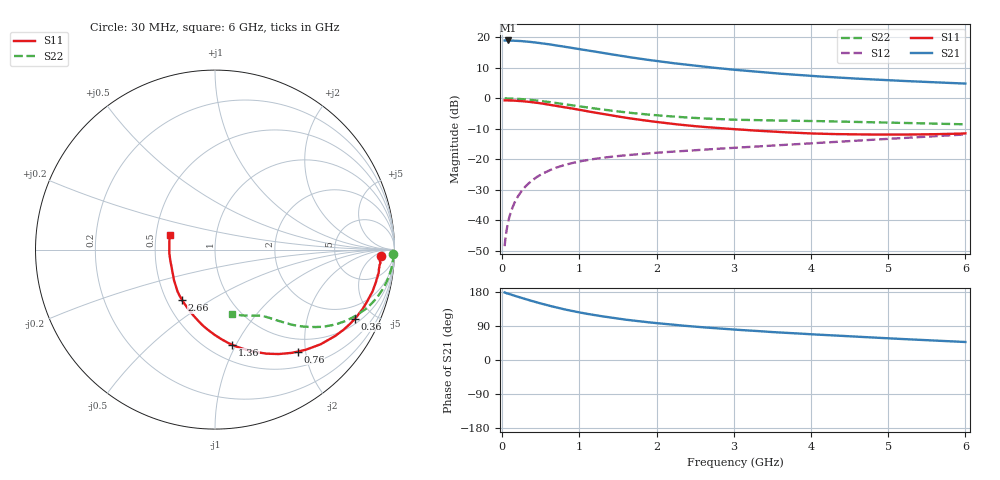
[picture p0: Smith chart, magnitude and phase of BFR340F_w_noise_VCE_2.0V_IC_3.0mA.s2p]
! Infineon Technologies  Discrete & RF Semiconductors
! BFR340F
! VCE =  2.0 V,  IC =  3.0 mA
! Common Emitter S-Parameters:  Nov 2015
# GHz  S  MA  R  50
!  f  S11  S21  S12  S22
! GHz  MAG  ANG  MAG  ANG  MAG  ANG  MAG  ANG
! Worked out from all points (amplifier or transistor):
!   206 points, 30 MHz to 6 GHz, reference 50 ohm
!   highest |S21| = 18.9 dB at 70 MHz (marker M1)
!   |S21| within 3 dB of that: start of sweep to 1.037 GHz
!   unconditionally stable (mu >= 1): 3.88 GHz to end of sweep
!   at 200 MHz: K = 0.09, MSG = 25.5 dB, |S12| = -32.2 dB
!   at 1.56 GHz: K = 0.61, MSG = 16.3 dB, |S12| = -18.8 dB
!   at 6 GHz: K = 1.02, MAG = 7.4 dB, |S12| = -11.8 dB
!   lowest NFmin = 0.90 dB at 450 MHz
!   S11 on the Smith chart (normalised r, x): 30 MHz: 20, -10; 360 MHz: 1.25, -3.92; 760 MHz: 0.76, -1.85; 1.36 GHz: 0.65, -0.96; 2.66 GHz: 0.60, -0.38; 6 GHz: 0.59, +0.10
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0.03  0.9234 -2.2  8.799 178.3  0.0038 87.6  0.9946 -1.3
0.05  0.9196 -3.8  8.76 176.2  0.0062 88.0  0.9938 -2.3
0.07  0.9213 -5.3  8.822 175.1  0.0087 86.1  0.9938 -3.2
0.12  0.9184 -8.9  8.769 172.3  0.0149 84.9  0.9898 -5.6
0.2  0.9079 -14.9  8.688 167.0  0.0245 81.4  0.9786 -9.2
0.36  0.8696 -26.2  8.359 157.1  0.0424 75.2  0.9433 -16.1
0.46  0.8391 -32.8  8.08 151.3  0.0526 71.7  0.9149 -20.0
0.6  0.7907 -41.8  7.66 143.6  0.0653 67.2  0.8697 -24.9
0.76  0.7312 -51.0  7.123 135.8  0.0775 62.9  0.8153 -29.8
0.9  0.6817 -58.6  6.677 129.6  0.0867 59.9  0.7687 -33.4
1.04  0.633 -65.5  6.237 124.1  0.0943 57.4  0.7251 -36.4
1.2  0.5825 -73.0  5.776 118.3  0.102 55.1  0.679 -39.4
1.36  0.5385 -79.8  5.348 113.3  0.1084 53.4  0.6389 -41.9
1.5  0.5028 -85.5  5.018 109.1  0.1134 52.3  0.6081 -43.8
1.66  0.4676 -91.5  4.675 104.9  0.1185 51.3  0.5772 -45.6
2.02  0.4062 -103.6  4.037 96.8  0.1288 50.3  0.5241 -48.8
2.4  0.3589 -115.5  3.521 89.6  0.1389 50.0  0.484 -51.6
2.66  0.3358 -123.1  3.237 85.4  0.1457 50.2  0.4642 -53.5
3.1  0.3062 -134.1  2.857 79.0  0.1571 50.9  0.4433 -56.2
4.1  0.2632 -155.8  2.279 66.9  0.1861 52.9  0.4224 -60.7
5.1  0.2549 -178.3  1.945 56.2  0.2201 54.2  0.3969 -67.6
6  0.2657 162.0  1.739 47.5  0.256 54.5  0.3743 -75.0
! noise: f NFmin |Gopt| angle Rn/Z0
0.45  0.9  0.62  3  0.38
0.9  0.9  0.59  12  0.41
1.9  1.18  0.46  23  0.37
2.4  1.27  0.43  32  0.35
